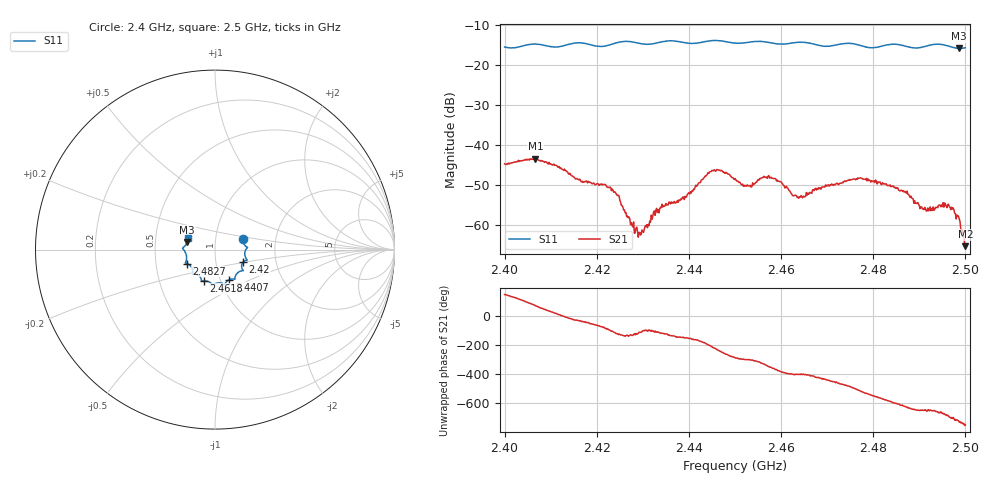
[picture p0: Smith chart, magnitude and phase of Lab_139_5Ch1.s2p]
# Hz S RI R 50
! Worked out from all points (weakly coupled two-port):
!   601 points, 2.4 GHz to 2.5 GHz, reference 50 ohm
!   highest |S21| = -43.50 dB at 2.4067 GHz (marker M1); lowest = -65.4 dB at 2.5 GHz (marker M2)
!   lowest |S11| = -15.9 dB at 2.4987 GHz (marker M3), VSWR 1.38, Z = 36.5 + j3.23 ohm
!   |S11| at or under -10 dB: start of sweep to end of sweep
!   S12 and S22 are empty: the file has one direction only
!   S11 on the Smith chart (normalised r, x): 2.4 GHz: 1.35, +0.17; 2.42 GHz: 1.36, -0.19; 2.4407 GHz: 1.10, -0.38; 2.4618 GHz: 0.83, -0.30; 2.4827 GHz: 0.72, -0.12; 2.5 GHz: 0.73, +0.09
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2.4e9  0.1547 0.0618  -0.00504 0.00281  0 0  0 0
2.406667e9  0.1815 0.0121  0.0017 0.00647  0 0  0 0
2.416667e9  0.1786 -0.0587  0.00274 -0.00205  0 0  0 0
2.42e9  0.1568 -0.0689  0.00148 -0.00288  0 0  0 0
2.424333e9  0.1533 -0.1105  -0.00115 -0.00207  0 0  0 0
2.429333e9  0.1412 -0.1201  -0.000279 -0.000751  0 0  0 0
2.433333e9  0.1119 -0.153  -0.000466 -0.00147  0 0  0 0
2.440667e9  0.0792 -0.1674  -0.00248 -0.000924  0 0  0 0
2.445e9  0.0541 -0.1937  -0.00412 0.00238  0 0  0 0
2.45e9  0.0269 -0.1851  0.00108 0.00362  0 0  0 0
2.453167e9  -0.00284 -0.1925  0.00144 0.00269  0 0  0 0
2.457667e9  -0.0213 -0.188  0.00384 0.000574  0 0  0 0
2.461833e9  -0.0614 -0.175  0.00212 -0.00158  0 0  0 0
2.464167e9  -0.0739 -0.1769  0.00162 -0.00149  0 0  0 0
2.466667e9  -0.0759 -0.1679  0.00155 -0.0019  0 0  0 0
2.477167e9  -0.1244 -0.1229  -0.00348 -0.00162  0 0  0 0
2.482667e9  -0.1583 -0.0775  -0.00259 0.0019  0 0  0 0
2.483333e9  -0.162 -0.0767  -0.00221 0.00216  0 0  0 0
2.491167e9  -0.1691 -0.00785  0.000541 0.00155  0 0  0 0
2.496e9  -0.1728 0.0146  0.00135 0.000918  0 0  0 0
2.498667e9  -0.1545 0.0431  0.00115 -0.000212  0 0  0 0
2.5e9  -0.1512 0.063  0.000462 -0.000271  0 0  0 0
